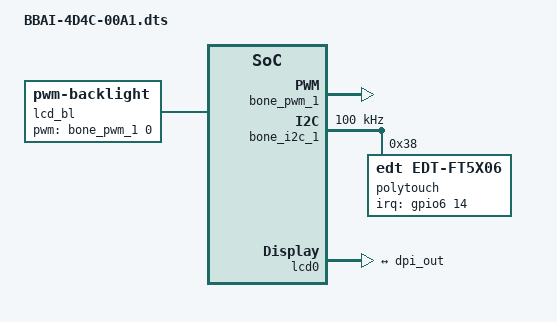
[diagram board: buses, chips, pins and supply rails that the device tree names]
/*
 * Copyright (C) 2020 Deepak Khatri <deepaklorkhatri7@gmail.com>
 * https://lorforlinux.github.io/GSoC2020_BeagleBoard.org/
 *
 * See Cape Interface Spec page for more info on Bone Buses
 * https://elinux.org/Beagleboard:BeagleBone_cape_interface_spec
 *
 * BBBAI Overlay for 4D Systems GEN4-4DCAPE-43CT-CLB Cape and similar Displays
 *
 * Based on older BB-BONE-4D4C-01-00A1.dts from TI for kernel < 4.14
 * Copyright (C) 2012 Texas Instruments Incorporated - http://www.ti.com/
 *
 * This program is free software; you can redistribute it and/or modify
 * it under the terms of the GNU General Public License version 2 as
 * published by the Free Software Foundation.
 */

/dts-v1/;
/plugin/;

&{/chosen} {
	overlays {
		BBAI-4D4C-00A1 = __TIMESTAMP__;
	};
};

/*
 * Update the default pinmux of the pins.
 * See these files for the phandles (&P9_* & &P8_*)
 * BeagleBoard-DeviceTrees/v4.19.x-ti-overlays/src/arm/am335x-bone-common-univ.dtsi
 * BeagleBoard-DeviceTrees/v4.19.x-ti-overlays/src/arm/am572x-bone-common-univ.dtsi
 */
&ocp {
	P8_45_pinmux { pinctrl-0 = <&P8_45_lcd_pin>;};	/* lcd: lcd_data0 */
	P8_46_pinmux { pinctrl-0 = <&P8_46_lcd_pin>;};	/* lcd: lcd_data1 */
	P8_43_pinmux { pinctrl-0 = <&P8_43_lcd_pin>;};	/* lcd: lcd_data2 */
	P8_44_pinmux { pinctrl-0 = <&P8_44_lcd_pin>;};	/* lcd: lcd_data3 */
	P8_41_pinmux { pinctrl-0 = <&P8_41_lcd_pin>;};	/* lcd: lcd_data4 */
	P8_42_pinmux { pinctrl-0 = <&P8_42_lcd_pin>;};	/* lcd: lcd_data5 */
	P8_39_pinmux { pinctrl-0 = <&P8_39_lcd_pin>;};	/* lcd: lcd_data6 */
	P8_40_pinmux { pinctrl-0 = <&P8_40_lcd_pin>;};	/* lcd: lcd_data7 */
	P8_37_pinmux { pinctrl-0 = <&P8_37_lcd_pin>;};	/* lcd: lcd_data8 */
	P8_38_pinmux { pinctrl-0 = <&P8_38_lcd_pin>;};	/* lcd: lcd_data9 */
	P8_36_pinmux { pinctrl-0 = <&P8_36_lcd_pin>;};	/* lcd: lcd_data10 */
	P8_34_pinmux { pinctrl-0 = <&P8_34_lcd_pin>;};	/* lcd: lcd_data11 */
	P8_35_pinmux { pinctrl-0 = <&P8_35_lcd_pin>;};	/* lcd: lcd_data12 */
	P8_33_pinmux { pinctrl-0 = <&P8_33_lcd_pin>;};	/* lcd: lcd_data13 */
	P8_31_pinmux { pinctrl-0 = <&P8_31_lcd_pin>;};	/* lcd: lcd_data14 */
	P8_32_pinmux { pinctrl-0 = <&P8_32_lcd_pin>;};	/* lcd: lcd_data15 */

	P8_27_pinmux { pinctrl-0 = <&P8_27_lcd_pin>;};	/* lcd: lcd_vsync */
	P8_29_pinmux { pinctrl-0 = <&P8_29_lcd_pin>;};	/* lcd: lcd_hsync */
	P8_28_pinmux { pinctrl-0 = <&P8_28_lcd_pin>;};	/* lcd: lcd_pclk */
	P8_30_pinmux { pinctrl-0 = <&P8_30_lcd_pin>;};	/* lcd: lcd_ac_bias_en */

	P9_27_pinmux { pinctrl-0 = <&P9_27_gpio_pin>;};	/* lcd: gpio4_15 DISPEN */

	P9_14_pinmux { pinctrl-0 = <&P9_14_pwm_pin>;};	/* pwm: ehrpwm1a PWM_BL */

	P9_18_pinmux { pinctrl-0 = <&P9_18_i2c_pin>;};	/* i2c1_sda */
	P9_17_pinmux { pinctrl-0 = <&P9_17_i2c_pin>;};	/* i2c1_scl */
	P9_26_pinmux { pinctrl-0 = <&P9_26_gpio_pin>;};	/* touch interrupt on gpio6_14 */
};

/*
 * See these files for the phandles (&bone_*) and other bone bus nodes
 * BeagleBoard-DeviceTrees/v4.19.x-ti-overlays/src/arm/bbai-bone-buses.dtsi
 * BeagleBoard-DeviceTrees/v4.19.x-ti-overlays/src/arm/bbb-bone-buses.dtsi
 */

// PWM Backlight
&bone_pwm_1{
	status = "okay";
};

// Touch Controller
&bone_i2c_1 {
	status = "okay";
	clock-frequency = <100000>;
	#address-cells = <1>;
	#size-cells = <0>;

	polytouch: edt-ft5x06@38 {
		compatible = "edt,edt-ft5x06";
		reg = <0x38>;
		interrupt-parent = <&gpio6>;
		interrupts = <14 2>;
		touchscreen-size-y = <480>;
		touchscreen-size-x = <272>;
		touchscreen-swapped-x-y;
	};
};

// Display Sub System (DSS)
&dss {
	ports {
		#address-cells = <1>;
		#size-cells = <0>;

		port {
			reg = <0>;

			dpi_out: endpoint {
				data-lines = <16>;
				remote-endpoint = <&lcd_in>;
			};
		};
	};
};

&{/} {
	aliases {
		display0 = &lcd0;
	};

	// Backlight
	lcd_bl: backlight {
		status = "okay";
		compatible = "pwm-backlight";
		pwms = <&bone_pwm_1 0 500000 0>;
		brightness-levels = <
			0  1  2  3  4  5  6  7  8  9
			10 11 12 13 14 15 16 17 18 19
			20 21 22 23 24 25 26 27 28 29
			30 31 32 33 34 35 36 37 38 39
			40 41 42 43 44 45 46 47 48 49
			50 51 52 53 54 55 56 57 58 59
			60 61 62 63 64 65 66 67 68 69
			70 71 72 73 74 75 76 77 78 79
			80 81 82 83 84 85 86 87 88 89
			90 91 92 93 94 95 96 97 98 99
			100
		>;
		default-brightness-level = <100>;
	};

	// Display
	lcd0: display {
		compatible = "qiaodian,qd43003c0-40", "panel-dpi";
		backlight = <&lcd_bl>;
		enable-gpios = <&gpio2 5 0>;
		label = "lcd";

		panel-info {
			ac-bias           = <255>;
			ac-bias-intrpt    = <0>;
			dma-burst-sz      = <16>;
			bpp               = <16>;
			fdd               = <0x80>;
			sync-edge         = <0>;
			sync-ctrl         = <1>;
			raster-order      = <0>;
			fifo-th           = <0>;
		};

		panel-timing {
			clock-frequency = <9200000>;
			hactive = <480>;
			vactive = <272>;
			hfront-porch = <8>;
			hback-porch = <47>;
			hsync-len = <41>;
			vback-porch = <2>;
			vfront-porch = <3>;
			vsync-len = <10>;
			hsync-active = <0>;
			vsync-active = <0>;
			de-active = <1>;
			pixelclk-active = <0>;
		};

		port {
			lcd_in: endpoint {
				remote-endpoint = <&dpi_out>;
			};
		};
	};
};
